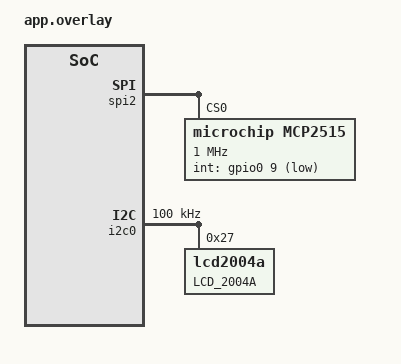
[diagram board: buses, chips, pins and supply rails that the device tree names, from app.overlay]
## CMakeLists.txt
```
cmake_minimum_required(VERSION 3.20.0)
find_package(Zephyr REQUIRED HINTS $ENV{ZEPHYR_BASE})
project(can_project)

target_include_directories(app PRIVATE include)
target_sources(app PRIVATE src/main.c src/lcd.c)
```

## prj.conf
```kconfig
CONFIG_CAN_MCP2515=y
CONFIG_MAIN_STACK_SIZE=2048

CONFIG_LOG=y
CONFIG_LOG_DEFAULT_LEVEL=3

CONFIG_CAN=y
CONFIG_I2C=y
CONFIG_GPIO=y
CONFIG_SPI=y
```

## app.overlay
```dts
&spi2 {
    status = "okay";
    mcp2515: mcp2515@0 {
        compatible = "microchip,mcp2515";
        reg = <0>;                          // SPI Chip Select (CS)
        spi-max-frequency = <1000000>;      // SPI Clock
        int-gpios = <&gpio0 9 GPIO_ACTIVE_LOW>;  // INT pin (change if needed)
        osc-freq = <8000000>;               // MCP2515 crystal oscillator (8 MHz)
        status = "okay";
        bus-speed = <500000>;               //CAN bitrate = 500 kbps
    };
};

&i2c0 {
    status = "okay";
    pinctrl-0 = <&i2c0_default>;
    pinctrl-names = "default";
    clock-frequency = <I2C_BITRATE_STANDARD>;
    
    lcd2004a@27 {
        compatible = "lcd2004a";
        reg = <0x27>;  // Common PCF8574 I2C address
        label = "LCD_2004A";
    };
};
```

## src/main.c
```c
#include <zephyr/kernel.h>
#include <zephyr/device.h>
#include <zephyr/drivers/can.h>
#include <zephyr/logging/log.h>
#include "lcd.h"

LOG_MODULE_REGISTER(can_tx_app, LOG_LEVEL_INF);

#define CAN_ID_TX 0x35
#define CAN_ID_RX 0x30

const struct device *can_dev,*i2c_dev;
static volatile bool rx_flag = false;

void convert_into_string(int16_t temp,uint16_t hum,uint16_t press,uint16_t gas)
{
        uint8_t tempature[10],humidity[10],pressure[10],gass[10]; 
       
        tempature[0]=(temp/1000)+48;
        tempature[1]=((temp/100)%10)+48;
        tempature[2]='.';
        tempature[3]=((temp/10)%10)+48;
        tempature[4]=(temp%10)+48;
        tempature[5]='\0'; 
        
        lcd_send_cmd(i2c_dev,0x80);
        lcd_print(i2c_dev,"Temp: ");
        lcd_print(i2c_dev,tempature);
        lcd_send_data(i2c_dev,(uint8_t)(0xdf));
        lcd_send_data(i2c_dev,(uint8_t)('C'));

        humidity[0]=(hum/1000)+48;
        humidity[1]=((hum/100)%10)+48;
        humidity[2]='.';
        humidity[3]=((hum/10)%10)+48;
        humidity[4]=(hum%10)+48;
        humidity[5]='\0'; 
        
        lcd_send_cmd(i2c_dev,0xC0);
        lcd_print(i2c_dev,"HUM: ");
        lcd_print(i2c_dev,humidity);
        lcd_print(i2c_dev," %%");
        
        pressure[0]=(press/10000)+48;
        pressure[1]=((press/1000)%10)+48;
        pressure[2]=((press/100)%10)+48;
        pressure[3]=((press/10)%10)+48;
        pressure[4]='.';
        pressure[5]=(press%10)+48;
        pressure[6]='\0'; 
        
        lcd_send_cmd(i2c_dev,0x94);
        lcd_print(i2c_dev,"PRESS: ");
        lcd_print(i2c_dev,pressure);
        lcd_print(i2c_dev," hPa");

        gass[0]=(gas/10000)+48;
        gass[1]=((gas/1000)%10)+48;
        gass[2]=((gas/100)%10)+48;
        gass[3]=((gas/10)%10)+48;
        gass[4]=(gas%10)+48;
        gass[5]='\0'; 
        
        lcd_send_cmd(i2c_dev,0xD4);
        lcd_print(i2c_dev,"GAS: ");
        lcd_print(i2c_dev,gass);
        lcd_print(i2c_dev," Ohms");       
  
}

static void can_rx_callback(const struct device *dev, struct can_frame *frame, void *user_data)
{   
    if (frame->id == CAN_ID_RX)
    {
        rx_flag = true;
        
        printk("Received id: 0x%02X \n", frame->id);
        printk("Received data :- \n");

        int16_t temp = (frame->data[0] << 8) |frame->data[1];
        uint16_t hum = (frame->data[2] << 8) | frame->data[3];
        uint16_t press = (frame->data[4] << 8) | frame->data[5];
        uint16_t gas = (frame->data[6] << 8) | frame->data[7];
        
        printk("Temperature: %d.%02d °C\n", temp / 100, temp % 100);
        printk("Humidity: %d.%02d %%\n", hum / 100, hum % 100);
        printk("Pressure: %d.%01d hPa\n", press / 10, press % 10);
        printk("Gas Resistance: %d Ohms\n\n", gas);
        
        convert_into_string(temp,hum,press,gas);        
    }   
}

int main(void)
{
    can_dev = DEVICE_DT_GET(DT_NODELABEL(mcp2515));
    if (!device_is_ready(can_dev)) {
        LOG_ERR("CAN device not ready");
        return 0;
    }

    LOG_INF("CAN device ready");
    
    
    i2c_dev = DEVICE_DT_GET(DT_NODELABEL(i2c0));
    
    if (!device_is_ready(i2c_dev)) {
        printk("I2C not ready!\n");
        return 0;
    }

    lcd_init(i2c_dev);

    if (can_start(can_dev) != 0) {
        LOG_ERR("CAN start failed");
        return 0;
    }

    struct can_filter filter = {
        .id = CAN_ID_RX,
        .mask = CAN_STD_ID_MASK,
        .flags = 0,
    };
    can_add_rx_filter(can_dev, can_rx_callback, NULL, &filter);

    struct can_frame tx_frame = {
        .id = CAN_ID_TX,
        .dlc = 8,
        .flags = 0
    };
    const char* msg = "RECEIVED";
    // Copy string into data buffer
    for (int i = 0; i < 8; i++) {
       tx_frame.data[i] = msg[i];  // Each character is stored as ASCII (uint8_t)
    }

    while (1) {
    rx_flag = false;
       
    if (can_send(can_dev, &tx_frame, K_MSEC(100), NULL, NULL) == 0) {
       printk("Sent id: 0x%02X \n", tx_frame.id);
       printk("Sent data : %s\n\n", msg);    
    } 
    else {
            LOG_ERR("Failed to send");
        }    
        int64_t start = k_uptime_get();
        while (!rx_flag && k_uptime_get() - start < 3000)
        {
            k_msleep(10);
        }

        if (!rx_flag) {
            LOG_WRN("No response received");
        }

        k_sleep(K_SECONDS(2));
    }
}
```

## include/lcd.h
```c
#ifndef LCD_H
#define LCD_H

#include <zephyr/kernel.h>
#include <zephyr/device.h>
#include <zephyr/drivers/i2c.h>
#include <string.h>

void lcd_init(const struct device *i2c_dev);
void lcd_send_cmd(const struct device *i2c_dev,uint8_t cmd);
void lcd_send_data(const struct device *i2c_dev,uint8_t data);
void lcd_print(const struct device *i2c_dev,char *str);

#endif
```

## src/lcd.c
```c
#include "lcd.h"

#define LCD_I2C_ADDR 0x27

void lcd_send_cmd(const struct device *i2c_dev,uint8_t cmd) {
    uint8_t data_u, data_l;
    uint8_t data_t[4];
    data_u = cmd & 0xF0;
    data_l = (cmd << 4) & 0xF0;
    data_t[0] = data_u | 0x0C;  // EN=1, RS=0
    data_t[1] = data_u | 0x08;  // EN=0, RS=0
    data_t[2] = data_l | 0x0C;
    data_t[3] = data_l | 0x08;
    i2c_write(i2c_dev, data_t, 4, LCD_I2C_ADDR);
}

void lcd_send_data(const struct device *i2c_dev,uint8_t data) {
    uint8_t data_u, data_l;
    uint8_t data_t[4];
    data_u = data & 0xF0;
    data_l = (data << 4) & 0xF0;
    data_t[0] = data_u | 0x0D;  // EN=1, RS=1
    data_t[1] = data_u | 0x09;  // EN=0, RS=1
    data_t[2] = data_l | 0x0D;
    data_t[3] = data_l | 0x09;
    i2c_write(i2c_dev, data_t, 4, LCD_I2C_ADDR);
}

void lcd_init(const struct device *i2c_dev) {
    k_sleep(K_MSEC(50));
    lcd_send_cmd(i2c_dev,0x33);
    lcd_send_cmd(i2c_dev,0x32);
    lcd_send_cmd(i2c_dev,0x28);
    lcd_send_cmd(i2c_dev,0x0C);
    lcd_send_cmd(i2c_dev,0x06);
    lcd_send_cmd(i2c_dev,0x01);
    k_sleep(K_MSEC(5));
}

void lcd_print(const struct device *i2c_dev,char *str) {
    while (*str) {
        lcd_send_data(i2c_dev,(uint8_t)(*str));
        str++;
    }
}
```
